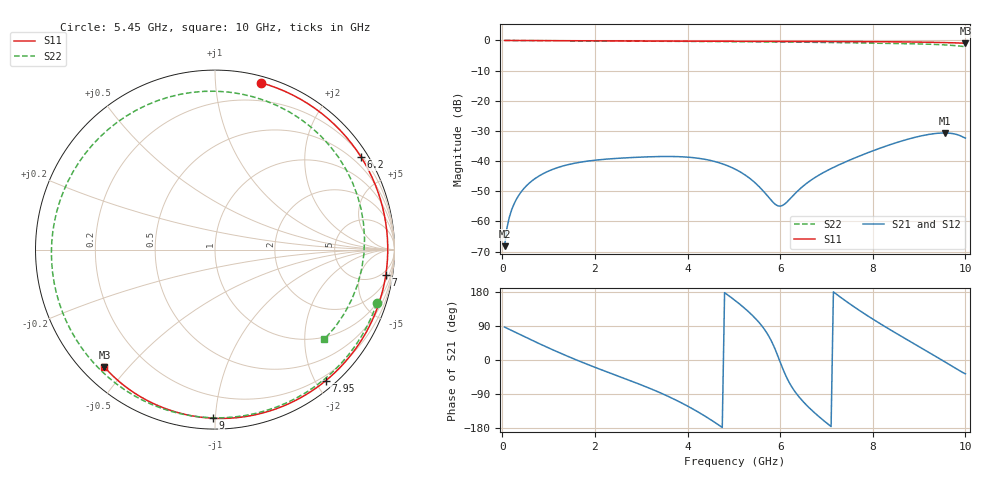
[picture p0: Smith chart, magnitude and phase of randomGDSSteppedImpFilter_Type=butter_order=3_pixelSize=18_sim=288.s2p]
! freq	dB(S11)	phase(S11)	dB(S12)	phase(S12)
!  dB(S21)	phase(S21)	dB(S22)	phase(S22)
!S-par simulation data
#  GHz  S  DB  R 50
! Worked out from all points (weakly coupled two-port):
!   200 points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, 50 MHz to 10 GHz, reference 50 ohm
!   highest |S21| = -30.67 dB at 9.55 GHz (marker M1); lowest = -68.2 dB at 50 MHz (marker M2)
!   lowest |S11| = -0.9 dB at 10 GHz (marker M3), VSWR 18.79, Z = 3.16 - j21.5 ohm
!   |S11| at or under -10 dB: nowhere
!   |S22| runs from -2.1 to 0.0 dB; largest |S21 - S12| = 0
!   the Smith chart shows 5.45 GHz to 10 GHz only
!   S11 on the Smith chart (normalised r, x): 5.45 GHz: 0.05, +1.31; 6.2 GHz: 0.24, +3.43; 7 GHz: 3, -13; 7.95 GHz: 0.13, -2.14; 9 GHz: 0.06, -0.99; 10 GHz: 0.06, -0.43
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0.05  -0.00 -2.5  -68.20 86.8  -68.20 86.8  -0.00 -3.5
0.2  -0.01 -10.1  -56.23 77.9  -56.23 77.9  -0.02 -13.9
0.5  -0.03 -25.0  -48.53 60.3  -48.53 60.3  -0.05 -34.6
1.15  -0.07 -57.2  -42.38 23.6  -42.38 23.6  -0.10 -77.9
1.75  -0.11 -86.7  -40.20 -7.3  -40.20 -7.3  -0.14 -115.9
2.6  -0.16 -128.6  -38.98 -47.0  -38.98 -47.0  -0.19 -168.2
3.4  -0.21 -169.4  -38.48 -86.0  -38.48 -86.0  -0.25 140.3
3.85  -0.24 166.5  -38.55 -111.9  -38.55 -111.9  -0.29 108.7
4.25  -0.27 144.3  -39.09 -138.8  -39.09 -138.8  -0.32 78.7
4.6  -0.29 124.3  -40.18 -165.5  -40.18 -165.5  -0.36 50.9
5.05  -0.31 98.1  -42.84 154.9  -42.84 154.9  -0.40 14.2
5.45  -0.32 74.7  -47.06 111.6  -47.06 111.6  -0.45 -18.3
5.95  -0.32 46.1  -54.83 10.7  -54.83 10.7  -0.50 -57.5
6.2  -0.32 32.4  -52.73 -60.3  -52.73 -60.3  -0.53 -76.2
6.7  -0.33 6.3  -45.96 -134.5  -45.96 -134.5  -0.61 -112.2
7  -0.34 -8.3  -43.26 -165.9  -43.26 -165.9  -0.67 -133.2
7.5  -0.36 -31.0  -39.67 148.4  -39.67 148.4  -0.77 -168.3
7.95  -0.39 -49.9  -36.89 111.8  -36.89 111.8  -0.87 158.9
8.35  -0.43 -65.7  -34.68 81.7  -34.68 81.7  -0.97 127.7
9  -0.54 -90.7  -31.79 35.2  -31.79 35.2  -1.15 71.1
9.55  -0.70 -112.7  -30.67 -4.5  -30.67 -4.5  -1.47 15.4
10  -0.93 -133.3  -32.36 -36.4  -32.36 -36.4  -2.07 -39.3
